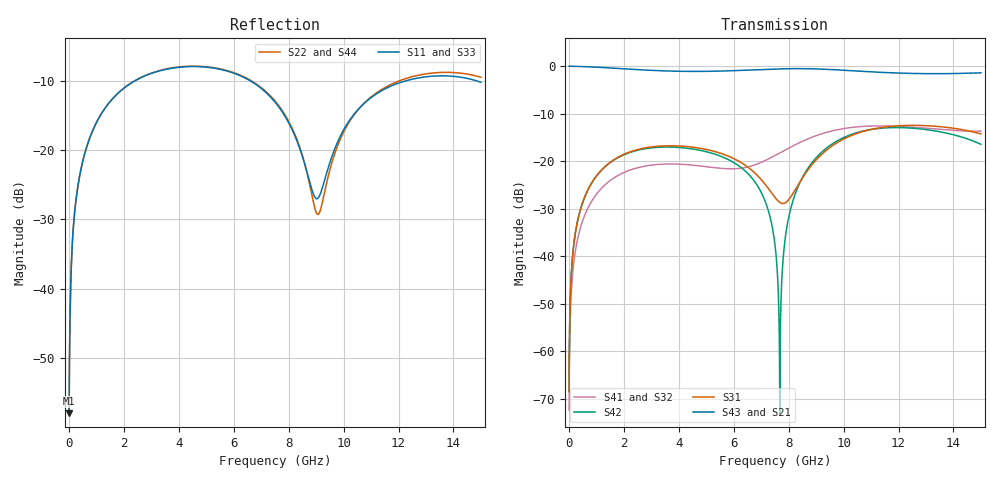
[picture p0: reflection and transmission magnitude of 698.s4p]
! Created with skrf 1.8.0 (http://scikit-rf.org).
# GHz S RI R 50.0
!freq ReS11 ImS11 ReS12 ImS12 ReS13 ImS13
! ReS14 ImS14
! ReS21 ImS21 ReS22 ImS22 ReS23 ImS23
! ReS24 ImS24
! ReS31 ImS31 ReS32 ImS32 ReS33 ImS33
! ReS34 ImS34
! ReS41 ImS41 ReS42 ImS42 ReS43 ImS43
! ReS44 ImS44
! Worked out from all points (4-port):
!   2499 points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, 5 MHz to 15 GHz, reference 50 ohm
!   strongest paths, dB at 5 MHz, 3.476 GHz, 7.19 GHz, 11.1 GHz, 15 GHz:
!     S43: 0.0, -1.0, -0.7, -1.2, -1.4
!     S21: 0.0, -1.0, -0.7, -1.2, -1.4
!     S31: -68.5, -16.8, -25.2, -13.2, -14.3
!     S42: -68.5, -17.0, -29.1, -13.2, -16.4
!     S41: -72.3, -20.6, -19.7, -12.6, -13.7
!     S32: -72.3, -20.6, -19.7, -12.6, -13.7
!   lowest |S11| = -58.0 dB at 5 MHz (marker M1), VSWR 1.00, Z = 50.1 + j0.0766 ohm
!   |S11| at or under -10 dB: start of sweep to 2.417 GHz; 6.586 GHz to 12.29 GHz (5.709 GHz wide, 60.5 % of centre); 14.81 GHz to end of sweep
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0.005  0.001 0.000764  0.999 -0.00195  4.8e-05 0.000374  -4.67e-05 -0.000237
       0.999 -0.00195  0.001 0.000764  -4.67e-05 -0.000237  4.79e-05 0.000374
       4.8e-05 0.000374  -4.67e-05 -0.000237  0.001 0.000764  0.999 -0.00195
       -4.67e-05 -0.000237  4.79e-05 0.000374  0.999 -0.00195  0.001 0.000764
0.3626511  0.013 0.0595  0.9822 -0.1421  0.00561 0.0265  -0.00458 -0.0168
           0.9822 -0.1421  0.0131 0.0595  -0.00458 -0.0168  0.00532 0.0266
           0.00561 0.0265  -0.00458 -0.0168  0.013 0.0595  0.9822 -0.1421
           -0.00458 -0.0168  0.00532 0.0266  0.9822 -0.1421  0.0131 0.0595
1.825761  0.1742 0.1938  0.7322 -0.5958  0.0862 0.071  -0.0647 -0.0311
          0.7322 -0.5958  0.1754 0.1934  -0.0647 -0.0311  0.0811 0.0752
          0.0862 0.071  -0.0647 -0.0311  0.1742 0.1938  0.7322 -0.5958
          -0.0647 -0.0311  0.0811 0.0752  0.7322 -0.5958  0.1754 0.1934
6.496457  0.2693 -0.1793  -0.5198 -0.7439  0.0375 -0.0789  -0.0503 0.0707
          -0.5198 -0.7439  0.2663 -0.1899  -0.0508 0.07  0.0589 -0.0465
          0.0375 -0.0789  -0.0508 0.07  0.2681 -0.1785  -0.5202 -0.7443
          -0.0503 0.0707  0.0589 -0.0465  -0.5202 -0.7443  0.265 -0.1889
7.678199  0.1198 -0.1594  -0.7999 -0.4842  -0.0303 -0.0209  -0.0593 0.107
          -0.7999 -0.4842  0.1128 -0.1694  -0.0603 0.1063  0.000155 0.00016
          -0.0303 -0.0209  -0.0603 0.1063  0.1187 -0.1576  -0.8005 -0.4842
          -0.0593 0.107  0.000155 0.00016  -0.8005 -0.4842  0.1116 -0.1676
9.285119  0.0509 0.0283  -0.9266 0.0512  0.012 0.1235  0.0209 0.1964
          -0.9266 0.0512  0.0401 0.0249  0.0191 0.1964  0.0312 0.1269
          0.012 0.1235  0.0191 0.1964  0.0515 0.0309  -0.9266 0.0514
          0.0209 0.1964  0.0312 0.1269  -0.9266 0.0514  0.0396 0.0271
15  0.2844 -0.1167  0.2881 0.7987  0.1023 -0.1643  0.1654 -0.1252
    0.2881 0.7987  0.299 -0.1491  0.1668 -0.1209  0.1376 -0.061
    0.1023 -0.1643  0.1668 -0.1209  0.2827 -0.1158  0.2865 0.8004
    0.1654 -0.1252  0.1376 -0.061  0.2865 0.8004  0.296 -0.1468
